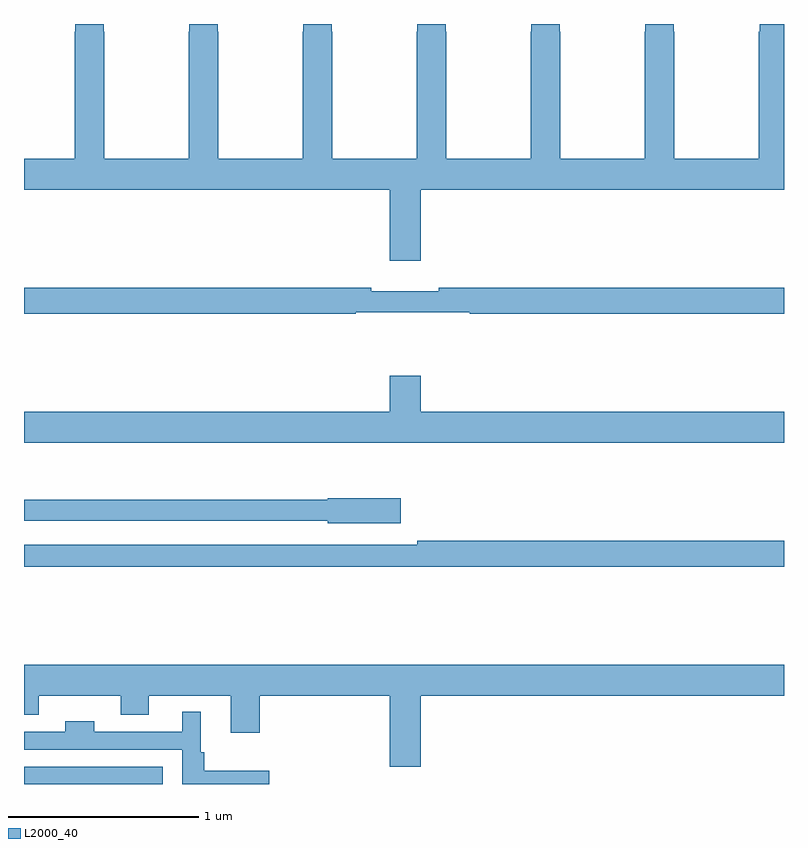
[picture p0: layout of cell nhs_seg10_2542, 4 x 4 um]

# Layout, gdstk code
import gdstk
lib = gdstk.Library(unit=1e-6, precision=1e-09)
def P(c, l, *ps):  # polygons
    for p in ps: c.add(gdstk.Polygon(p, *l))
L2000_40 = (2000, 40)

nhs_seg10_2542 = lib.new_cell('nhs_seg10_2542')
P(nhs_seg10_2542, L2000_40, [(249.088,1321.628),(251,1321.628),(251,1322.5),(250.873,1322.5),(250.873,1322.459),(250.867,1322.459),(250.867,1321.792),(250.422,1321.792),(250.422,1322.459),(250.419,1322.459),(250.419,1322.5),(250.269,1322.5),(250.269,1322.459),(250.267,1322.459),(250.267,1321.792),(249.822,1321.792),(249.822,1322.459),(249.819,1322.459),(249.819,1322.5),(249.669,1322.5),(249.669,1322.459),(249.667,1322.459),(249.667,1321.792),(249.222,1321.792),(249.222,1322.459),(249.219,1322.459),(249.219,1322.5),(249.069,1322.5),(249.069,1322.459),(249.067,1322.459),(249.067,1321.792),(248.622,1321.792),(248.622,1322.459),(248.619,1322.459),(248.619,1322.5),(248.469,1322.5),(248.469,1322.459),(248.467,1322.459),(248.467,1321.792),(248.022,1321.792),(248.022,1322.459),(248.019,1322.459),(248.019,1322.5),(247.869,1322.5),(247.869,1322.459),(247.867,1322.459),(247.867,1321.792),(247.422,1321.792),(247.422,1322.459),(247.419,1322.459),(247.419,1322.5),(247.269,1322.5),(247.269,1322.459),(247.267,1322.459),(247.267,1321.792),(247,1321.792),(247,1321.628),(248.924,1321.628),(248.924,1321.254),(249.088,1321.254)],
  [(248.745,1320.984),(249.345,1320.984),(249.345,1320.976),(251,1320.976),(251,1321.112),(249.184,1321.112),(249.184,1321.093),(248.828,1321.093),(248.828,1321.112),(247,1321.112),(247,1320.976),(248.745,1320.976)],
  [(251,1320.46),(249.088,1320.46),(249.088,1320.649),(248.924,1320.649),(248.924,1320.46),(247,1320.46),(247,1320.296),(251,1320.296)],
  [(248.983,1320.003),(248.598,1320.003),(248.598,1319.995),(247,1319.995),(247,1319.886),(248.598,1319.886),(248.598,1319.873),(248.983,1319.873)],
  [(251,1319.78),(249.07,1319.78),(249.07,1319.76),(247,1319.76),(247,1319.644),(251,1319.644)],
  [(249.088,1318.964),(251,1318.964),(251,1319.128),(247,1319.128),(247,1318.865),(247.077,1318.865),(247.077,1318.964),(247.51,1318.964),(247.51,1318.865),(247.657,1318.865),(247.657,1318.964),(248.087,1318.964),(248.087,1318.77),(248.24,1318.77),(248.24,1318.964),(248.924,1318.964),(248.924,1318.59),(249.088,1318.59)],
  [(248.29,1318.57),(247.949,1318.57),(247.949,1318.666),(247.93,1318.666),(247.93,1318.879),(247.832,1318.879),(247.832,1318.776),(247.371,1318.776),(247.371,1318.831),(247.216,1318.831),(247.216,1318.776),(247,1318.776),(247,1318.68),(247.833,1318.68),(247.833,1318.5),(248.29,1318.5)],
  [(247.729,1318.591),(247.507,1318.591),(247.507,1318.59),(247,1318.59),(247,1318.5),(247.729,1318.5)])

lib.write_gds('nhs_seg10_2542.gds')
